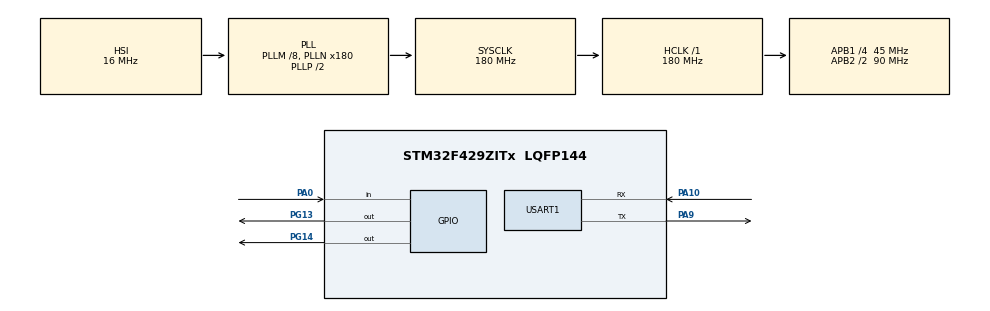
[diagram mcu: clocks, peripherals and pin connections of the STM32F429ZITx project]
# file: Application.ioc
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Mcu.Family=STM32F4
Mcu.Name=STM32F429ZITx
Mcu.Package=LQFP144
NVIC.PriorityGroup=NVIC_PRIORITYGROUP_4
PA0/WKUP.GPIO_PuPd=GPIO_PULLDOWN
PA0/WKUP.Signal=GPIO_Input
PA10.Mode=Asynchronous
PA10.Signal=USART1_RX
PA13.Mode=Serial_Wire
PA13.Signal=SYS_JTMS-SWDIO
PA14.Mode=Serial_Wire
PA14.Signal=SYS_JTCK-SWCLK
PA9.Mode=Asynchronous
PA9.Signal=USART1_TX
PG13.Signal=GPIO_Output
PG14.Signal=GPIO_Output
PH0/OSC_IN.Mode=HSE-External-Oscillator
PH0/OSC_IN.Signal=RCC_OSC_IN
PH1/OSC_OUT.Mode=HSE-External-Oscillator
PH1/OSC_OUT.Signal=RCC_OSC_OUT
ProjectManager.HeapSize=0x200
ProjectManager.StackSize=0x400
ProjectManager.TargetToolchain=STM32CubeIDE
RCC.48MHZClocksFreq_Value=90000000
RCC.AHBFreq_Value=180000000
RCC.APB1CLKDivider=RCC_HCLK_DIV4
RCC.APB1Freq_Value=45000000
RCC.APB1TimFreq_Value=90000000
RCC.APB2CLKDivider=RCC_HCLK_DIV2
RCC.APB2Freq_Value=90000000
RCC.APB2TimFreq_Value=180000000
RCC.CortexFreq_Value=180000000
RCC.HCLKFreq_Value=180000000
RCC.HSE_VALUE=8000000
RCC.HSI_VALUE=16000000
RCC.LSE_VALUE=32768
RCC.PLLM=8
RCC.PLLN=180
RCC.SYSCLKFreq_VALUE=180000000
RCC.SYSCLKSource=RCC_SYSCLKSOURCE_PLLCLK
RCC.VCOOutputFreq_Value=360000000
USART1.VirtualMode=VM_ASYNC
board=custom

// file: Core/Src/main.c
/* USER CODE BEGIN Header */
/**
  ******************************************************************************
  * @file           : main.c
  * @brief          : Main program body
  ******************************************************************************
  * @attention
  *
  * Copyright (c) 2026 STMicroelectronics.
  * All rights reserved.
  *
  * This software is licensed under terms that can be found in the LICENSE file
  * in the root directory of this software component.
  * If no LICENSE file comes with this software, it is provided AS-IS.
  *
  ******************************************************************************
  */
/* USER CODE END Header */
#include "main.h"

/* USER CODE BEGIN Includes */
#include "flash_layout.h"
#include "app_header.h"
#include "app_ota.h"

/* USER CODE END Includes */

UART_HandleTypeDef huart1;

void SystemClock_Config(void);
static void MX_GPIO_Init(void);
static void MX_USART1_UART_Init(void);

/* USER CODE BEGIN 0 */

__attribute__((section(".header"))) const app_header_t app_header =
{
    .ota_flag=0,
    .magic   = 0xABCDEFAB,
    .size    = 0,   // will be used in Part 3
    .crc     = 0,   // will be used in Part 3
    .version = 0
};

//
//void HAL_GPIO_EXTI_Callback(uint16_t GPIO_Pin)
//{
//    if (GPIO_Pin == GPIO_PIN_0)
//    {
//        HAL_Delay(50);   // debounce
//
//        if (HAL_GPIO_ReadPin(GPIOA, GPIO_PIN_0) == GPIO_PIN_SET)
//        {
//            enable_ota_request();
//        }
//    }
//}
/* USER CODE END 0 */

int main(void)
{

  /* MCU Configuration--------------------------------------------------------*/

  /* Reset of all peripherals, Initializes the Flash interface and the Systick. */
  HAL_Init();

  /* USER CODE BEGIN Init */
  SCB->VTOR =APP_START_ADDR;
  __enable_irq();
  /* USER CODE END Init */

  /* Configure the system clock */
  SystemClock_Config();

  /* Initialize all configured peripherals */
  MX_GPIO_Init();
  MX_USART1_UART_Init();
  /* USER CODE BEGIN 2 */
  HAL_Delay(100);
  HAL_UART_Transmit(&huart1,(uint8_t *)"Inside Test Application!!\r\n",27,HAL_MAX_DELAY);
  /* USER CODE END 2 */

  /* Infinite loop */
  while (1)
  {

    /* USER CODE BEGIN 3 */
	  HAL_GPIO_TogglePin(GPIOG,GPIO_PIN_14);
	  HAL_Delay(3000);

	  if (HAL_GPIO_ReadPin(GPIOA, GPIO_PIN_0) == GPIO_PIN_SET)
	  {
	      HAL_Delay(50);  // debounce delay
	      if (HAL_GPIO_ReadPin(GPIOA, GPIO_PIN_0) == GPIO_PIN_SET)  // confirm still pressed
	      {
	          HAL_UART_Transmit(&huart1, (uint8_t *)"Button Pressed!\r\n", 17, 100);
	          HAL_Delay(200);
	          enable_ota_request();
	      }
	  }
  }
  /* USER CODE END 3 */
}

void SystemClock_Config(void)
{
  RCC_OscInitTypeDef RCC_OscInitStruct = {0};
  RCC_ClkInitTypeDef RCC_ClkInitStruct = {0};

  /** Configure the main internal regulator output voltage
  */
  __HAL_RCC_PWR_CLK_ENABLE();
  __HAL_PWR_VOLTAGESCALING_CONFIG(PWR_REGULATOR_VOLTAGE_SCALE1);

  /** Initializes the RCC Oscillators according to the specified parameters
  * in the RCC_OscInitTypeDef structure.
  */
  RCC_OscInitStruct.OscillatorType = RCC_OSCILLATORTYPE_HSI;
  RCC_OscInitStruct.HSIState = RCC_HSI_ON;
  RCC_OscInitStruct.HSICalibrationValue = RCC_HSICALIBRATION_DEFAULT;
  RCC_OscInitStruct.PLL.PLLState = RCC_PLL_ON;
  RCC_OscInitStruct.PLL.PLLSource = RCC_PLLSOURCE_HSI;
  RCC_OscInitStruct.PLL.PLLM = 8;
  RCC_OscInitStruct.PLL.PLLN = 180;
  RCC_OscInitStruct.PLL.PLLP = RCC_PLLP_DIV2;
  RCC_OscInitStruct.PLL.PLLQ = 4;
  if (HAL_RCC_OscConfig(&RCC_OscInitStruct) != HAL_OK)
  {
    Error_Handler();
  }

  /** Activate the Over-Drive mode
  */
  if (HAL_PWREx_EnableOverDrive() != HAL_OK)
  {
    Error_Handler();
  }

  /** Initializes the CPU, AHB and APB buses clocks
  */
  RCC_ClkInitStruct.ClockType = RCC_CLOCKTYPE_HCLK|RCC_CLOCKTYPE_SYSCLK
                              |RCC_CLOCKTYPE_PCLK1|RCC_CLOCKTYPE_PCLK2;
  RCC_ClkInitStruct.SYSCLKSource = RCC_SYSCLKSOURCE_PLLCLK;
  RCC_ClkInitStruct.AHBCLKDivider = RCC_SYSCLK_DIV1;
  RCC_ClkInitStruct.APB1CLKDivider = RCC_HCLK_DIV4;
  RCC_ClkInitStruct.APB2CLKDivider = RCC_HCLK_DIV2;

  if (HAL_RCC_ClockConfig(&RCC_ClkInitStruct, FLASH_LATENCY_5) != HAL_OK)
  {
    Error_Handler();
  }
}

static void MX_USART1_UART_Init(void)
{

  huart1.Instance = USART1;
  huart1.Init.BaudRate = 115200;
  huart1.Init.WordLength = UART_WORDLENGTH_8B;
  huart1.Init.StopBits = UART_STOPBITS_1;
  huart1.Init.Parity = UART_PARITY_NONE;
  huart1.Init.Mode = UART_MODE_TX_RX;
  huart1.Init.HwFlowCtl = UART_HWCONTROL_NONE;
  huart1.Init.OverSampling = UART_OVERSAMPLING_16;
  if (HAL_UART_Init(&huart1) != HAL_OK)
  {
    Error_Handler();
  }

}

static void MX_GPIO_Init(void)
{
  GPIO_InitTypeDef GPIO_InitStruct = {0};

  /* GPIO Ports Clock Enable */
  __HAL_RCC_GPIOH_CLK_ENABLE();
  __HAL_RCC_GPIOA_CLK_ENABLE();
  __HAL_RCC_GPIOG_CLK_ENABLE();

  /*Configure GPIO pin Output Level */
  HAL_GPIO_WritePin(GPIOG, GPIO_PIN_13|GPIO_PIN_14, GPIO_PIN_RESET);

  /*Configure GPIO pin : PA0 */
  GPIO_InitStruct.Pin = GPIO_PIN_0;
  GPIO_InitStruct.Mode = GPIO_MODE_INPUT;
  GPIO_InitStruct.Pull = GPIO_PULLDOWN;
  HAL_GPIO_Init(GPIOA, &GPIO_InitStruct);

  /*Configure GPIO pins : PG13 PG14 */
  GPIO_InitStruct.Pin = GPIO_PIN_13|GPIO_PIN_14;
  GPIO_InitStruct.Mode = GPIO_MODE_OUTPUT_PP;
  GPIO_InitStruct.Pull = GPIO_NOPULL;
  GPIO_InitStruct.Speed = GPIO_SPEED_FREQ_LOW;
  HAL_GPIO_Init(GPIOG, &GPIO_InitStruct);

}

void Error_Handler(void)
{
  __disable_irq();
  while (1)
  {
  }
}
